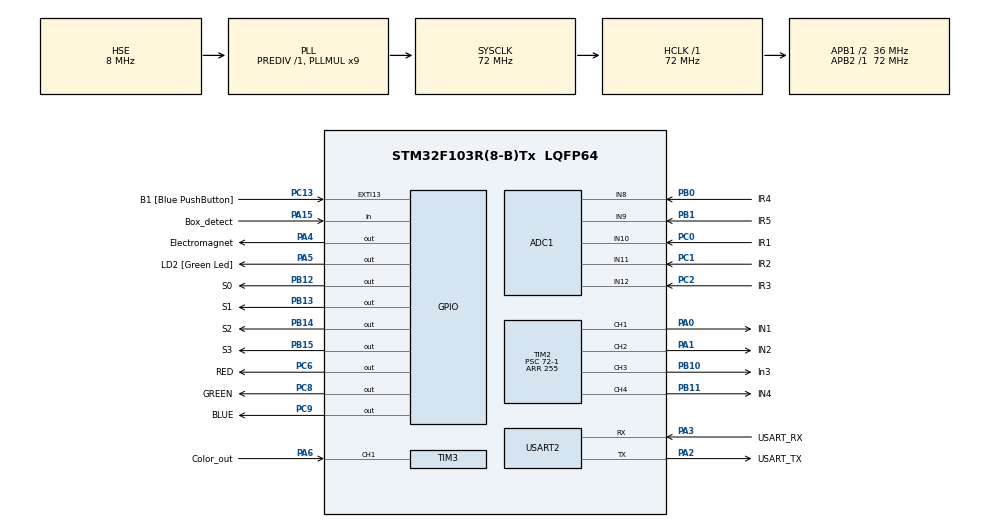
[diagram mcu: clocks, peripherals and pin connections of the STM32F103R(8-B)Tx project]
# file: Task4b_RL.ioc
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ADC1.Channel-0\#ChannelRegularConversion=ADC_CHANNEL_10
ADC1.Channel-1\#ChannelRegularConversion=ADC_CHANNEL_11
ADC1.Channel-2\#ChannelRegularConversion=ADC_CHANNEL_12
ADC1.Channel-3\#ChannelRegularConversion=ADC_CHANNEL_8
ADC1.Channel-4\#ChannelRegularConversion=ADC_CHANNEL_9
ADC1.ContinuousConvMode=ENABLE
ADC1.NbrOfConversion=5
ADC1.NbrOfConversionFlag=1
ADC1.Rank-0\#ChannelRegularConversion=1
ADC1.Rank-1\#ChannelRegularConversion=2
ADC1.Rank-2\#ChannelRegularConversion=3
ADC1.Rank-3\#ChannelRegularConversion=4
ADC1.Rank-4\#ChannelRegularConversion=5
ADC1.SamplingTime-0\#ChannelRegularConversion=ADC_SAMPLETIME_55CYCLES_5
ADC1.SamplingTime-1\#ChannelRegularConversion=ADC_SAMPLETIME_55CYCLES_5
ADC1.SamplingTime-2\#ChannelRegularConversion=ADC_SAMPLETIME_55CYCLES_5
ADC1.SamplingTime-3\#ChannelRegularConversion=ADC_SAMPLETIME_55CYCLES_5
ADC1.SamplingTime-4\#ChannelRegularConversion=ADC_SAMPLETIME_55CYCLES_5
ADC1.master=1
Dma.ADC1.0.Direction=DMA_PERIPH_TO_MEMORY
Dma.ADC1.0.Instance=DMA1_Channel1
Dma.ADC1.0.MemDataAlignment=DMA_MDATAALIGN_HALFWORD
Dma.ADC1.0.MemInc=DMA_MINC_ENABLE
Dma.ADC1.0.Mode=DMA_CIRCULAR
Dma.ADC1.0.PeriphDataAlignment=DMA_PDATAALIGN_HALFWORD
Dma.ADC1.0.PeriphInc=DMA_PINC_DISABLE
Dma.ADC1.0.Priority=DMA_PRIORITY_LOW
Dma.Request0=ADC1
Mcu.Family=STM32F1
Mcu.Name=STM32F103R(8-B)Tx
Mcu.Package=LQFP64
NVIC.ADC1_2_IRQn=true\:0\:0\:false\:false\:true\:true\:true\:true
NVIC.DMA1_Channel1_IRQn=true\:0\:0\:false\:false\:true\:false\:true\:true
NVIC.EXTI15_10_IRQn=true\:0\:0\:false\:false\:true\:true\:true\:true
NVIC.PriorityGroup=NVIC_PRIORITYGROUP_4
NVIC.TIM3_IRQn=true\:0\:0\:false\:false\:true\:true\:true\:true
PA0-WKUP.GPIO_Label=IN1
PA0-WKUP.Signal=S_TIM2_CH1_ETR
PA1.GPIO_Label=IN2
PA1.Signal=S_TIM2_CH2
PA13.GPIO_Label=TMS
PA13.Mode=Serial_Wire
PA13.Signal=SYS_JTMS-SWDIO
PA14.GPIO_Label=TCK
PA14.Mode=Serial_Wire
PA14.Signal=SYS_JTCK-SWCLK
PA15.GPIO_Label=Box_detect
PA15.Signal=GPIO_Input
PA2.GPIO_Label=USART_TX
PA2.GPIO_Mode=GPIO_MODE_AF_PP
PA2.GPIO_PuPd=GPIO_NOPULL
PA2.GPIO_Speed=GPIO_SPEED_FREQ_LOW
PA2.Mode=Asynchronous
PA2.Signal=USART2_TX
PA3.GPIO_Label=USART_RX
PA3.GPIO_Mode=GPIO_MODE_AF_PP
PA3.GPIO_PuPd=GPIO_NOPULL
PA3.GPIO_Speed=GPIO_SPEED_FREQ_LOW
PA3.Mode=Asynchronous
PA3.Signal=USART2_RX
PA4.GPIO_Label=Electromagnet
PA4.Signal=GPIO_Output
PA5.GPIO_Label=LD2 [Green Led]
PA5.GPIO_ModeDefaultOutputPP=GPIO_MODE_OUTPUT_PP
PA5.GPIO_PuPd=GPIO_NOPULL
PA5.GPIO_Speed=GPIO_SPEED_FREQ_LOW
PA5.Signal=GPIO_Output
PA6.GPIO_Label=Color_out
PA6.Signal=S_TIM3_CH1
PB0.GPIO_Label=IR4
PB0.Signal=ADCx_IN8
PB1.GPIO_Label=IR5
PB1.Signal=ADCx_IN9
PB10.GPIO_Label=In3
PB10.Signal=S_TIM2_CH3
PB11.GPIO_Label=IN4
PB11.Signal=S_TIM2_CH4
PB12.GPIO_Label=S0
PB12.Signal=GPIO_Output
PB13.GPIO_Label=S1
PB13.Signal=GPIO_Output
PB14.GPIO_Label=S2
PB14.Signal=GPIO_Output
PB15.GPIO_Label=S3
PB15.Signal=GPIO_Output
PB3.GPIO_Label=SWO
PB3.Signal=SYS_JTDO-TRACESWO
PC0.GPIO_Label=IR1
PC0.Signal=ADCx_IN10
PC1.GPIO_Label=IR2
PC1.Signal=ADCx_IN11
PC13-TAMPER-RTC.GPIO_Label=B1 [Blue PushButton]
PC13-TAMPER-RTC.GPIO_PuPd=GPIO_NOPULL
PC13-TAMPER-RTC.Signal=GPXTI13
PC14-OSC32_IN.Mode=LSE-External-Oscillator
PC14-OSC32_IN.Signal=RCC_OSC32_IN
PC15-OSC32_OUT.Mode=LSE-External-Oscillator
PC15-OSC32_OUT.Signal=RCC_OSC32_OUT
PC2.GPIO_Label=IR3
PC2.Signal=ADCx_IN12
PC6.GPIO_Label=RED
PC6.Signal=GPIO_Output
PC8.GPIO_Label=GREEN
PC8.Signal=GPIO_Output
PC9.GPIO_Label=BLUE
PC9.Signal=GPIO_Output
PD0-OSC_IN.Mode=HSE-External-Clock-Source
PD0-OSC_IN.Signal=RCC_OSC_IN
PD1-OSC_OUT.Mode=HSE-External-Clock-Source
PD1-OSC_OUT.Signal=RCC_OSC_OUT
ProjectManager.HeapSize=0x200
ProjectManager.StackSize=0x400
ProjectManager.TargetToolchain=STM32CubeIDE
RCC.ADCPresc=RCC_ADCPCLK2_DIV6
RCC.AHBFreq_Value=72000000
RCC.APB1CLKDivider=RCC_HCLK_DIV2
RCC.APB1Freq_Value=36000000
RCC.APB1TimFreq_Value=72000000
RCC.APB2Freq_Value=72000000
RCC.APB2TimFreq_Value=72000000
RCC.HCLKFreq_Value=72000000
RCC.PLLMUL=RCC_PLL_MUL9
RCC.PLLSourceVirtual=RCC_PLLSOURCE_HSE
RCC.RTCClockSelection=RCC_RTCCLKSOURCE_LSE
RCC.SYSCLKFreq_VALUE=72000000
RCC.SYSCLKSource=RCC_SYSCLKSOURCE_PLLCLK
RCC.USBFreq_Value=72000000
SH.ADCx_IN10.0=ADC1_IN10,IN10
SH.ADCx_IN11.0=ADC1_IN11,IN11
SH.ADCx_IN12.0=ADC1_IN12,IN12
SH.ADCx_IN8.0=ADC1_IN8,IN8
SH.ADCx_IN9.0=ADC1_IN9,IN9
SH.S_TIM2_CH1_ETR.0=TIM2_CH1,PWM Generation1 CH1
SH.S_TIM2_CH2.0=TIM2_CH2,PWM Generation2 CH2
SH.S_TIM2_CH3.0=TIM2_CH3,PWM Generation3 CH3
SH.S_TIM2_CH4.0=TIM2_CH4,PWM Generation4 CH4
SH.S_TIM3_CH1.0=TIM3_CH1,Input_Capture1_from_TI1
TIM2.Channel-PWM\ Generation1\ CH1=TIM_CHANNEL_1
TIM2.Channel-PWM\ Generation2\ CH2=TIM_CHANNEL_2
TIM2.Channel-PWM\ Generation3\ CH3=TIM_CHANNEL_3
TIM2.Channel-PWM\ Generation4\ CH4=TIM_CHANNEL_4
TIM2.Period=255
TIM2.Prescaler=72-1
TIM3.Channel-Input_Capture1_from_TI1=TIM_CHANNEL_1
USART2.VirtualMode=VM_ASYNC
board=NUCLEO-F103RB

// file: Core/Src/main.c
/* USER CODE BEGIN Header */
/**
  ******************************************************************************
  * @file           : main.c
  * @brief          : Main program body
  ******************************************************************************
  * @attention
  *
  * Copyright (c) 2025 STMicroelectronics.
  * All rights reserved.
  *
  * This software is licensed under terms that can be found in the LICENSE file
  * in the root directory of this software component.
  * If no LICENSE file comes with this software, it is provided AS-IS.
  *
  ******************************************************************************
  */
/* USER CODE END Header */
#include "main.h"
#include "q_table10.h"
#include <stdlib.h>
#include <math.h>

/* USER CODE BEGIN PTD */
typedef struct {
    int n_states;
    int n_actions;
    float lr;
    float gamma;
    float epsilon_start;
    float epsilon_min;
    float epsilon_decay;
    float epsilon;
    char* filename;
    float q_table[6][7];
    int action_list[7];
    float last_direction;
    int no_line_count;
    int stop_threshold;
    float prev_error;
    float smooth_error;
    float error_smoothing_alpha;
    float current_error;
    float error_sign;
    int prev_state;
} QLearningController;
/* USER CODE END PTD */

/* USER CODE BEGIN PD */
#define NUM_SENSORS         5
#define WHITE_THRESH        0.50f
#define FULL_WHITE_THRESH  0.85f
#define NO_LINE_SUM_THRESH  0.20f     // lowered → detect "no line" sooner
#define NO_LINE_MAX_THRESH  0.06f     // lowered → detect "no line" sooner
#define NO_LINE_TOLERANCE   60        // ~600 ms straight at 10 ms loop → good for zebra crossings
#define BASE_SPEED_SCALE    6.0f
/* USER CODE END PD */

ADC_HandleTypeDef hadc1;
DMA_HandleTypeDef hdma_adc1;

TIM_HandleTypeDef htim2;
TIM_HandleTypeDef htim3;

UART_HandleTypeDef huart2;

uint16_t adc_buf[NUM_SENSORS];

void SystemClock_Config(void);
static void MX_GPIO_Init(void);
static void MX_DMA_Init(void);
static void MX_USART2_UART_Init(void);
static void MX_ADC1_Init(void);
static void MX_TIM2_Init(void);
static void MX_TIM3_Init(void);

void init_QLearningController(QLearningController *self);
int Get_state(QLearningController *self, float values[NUM_SENSORS]);
int choose_action(QLearningController *self, int state);
void perform_action(int action, float *left_speed, float *right_speed);

int main(void)
{
  HAL_Init();
  SystemClock_Config();

  MX_GPIO_Init();
  MX_DMA_Init();
  MX_USART2_UART_Init();
  MX_ADC1_Init();
  MX_TIM2_Init();
  MX_TIM3_Init();

  QLearningController ql;
  init_QLearningController(&ql);

  HAL_TIM_PWM_Start(&htim2, TIM_CHANNEL_1);
  HAL_TIM_PWM_Start(&htim2, TIM_CHANNEL_2);
  HAL_TIM_PWM_Start(&htim2, TIM_CHANNEL_3);
  HAL_TIM_PWM_Start(&htim2, TIM_CHANNEL_4);

  HAL_ADC_Start_DMA(&hadc1, (uint32_t*)adc_buf, NUM_SENSORS);

  srand(HAL_GetTick());

  while (1)
  {
    float values[NUM_SENSORS];
    for(int i = 0; i < NUM_SENSORS; i++) {
        values[i] = (float)adc_buf[i] / 4095.0f;
    }

    // Stop condition: all sensors see full white (finish line)
    int all_white = 1;
    for (int i = 0; i < NUM_SENSORS; i++) {
        if (values[i] < FULL_WHITE_THRESH) {
            all_white = 0;
            break;
        }
    }
    if (all_white) {
        __HAL_TIM_SET_COMPARE(&htim2, TIM_CHANNEL_1, 0);
        __HAL_TIM_SET_COMPARE(&htim2, TIM_CHANNEL_2, 0);
        __HAL_TIM_SET_COMPARE(&htim2, TIM_CHANNEL_3, 0);
        __HAL_TIM_SET_COMPARE(&htim2, TIM_CHANNEL_4, 0);
        while (1) HAL_Delay(1000);
    }

    int state = Get_state(&ql, values);
    int action = choose_action(&ql, state);

    // Update last direction for recovery bias
    if (action == 1 || action == 3) ql.last_direction = -1.0f;
    else if (action == 2 || action == 4) ql.last_direction = 1.0f;

    float left_speed, right_speed;
    perform_action(action, &left_speed, &right_speed);

    int left_pwm  = (int)((fabsf(left_speed)  / BASE_SPEED_SCALE) * 255.0f);
    int right_pwm = (int)((fabsf(right_speed) / BASE_SPEED_SCALE) * 255.0f);

    // Clamp PWM values
    if (left_pwm  > 255) left_pwm  = 255;
    if (left_pwm  <   0) left_pwm  =   0;
    if (right_pwm > 255) right_pwm = 255;
    if (right_pwm <   0) right_pwm =   0;

    // Apply to motors (forward / backward)
    if (left_speed < 0) {
        __HAL_TIM_SET_COMPARE(&htim2, TIM_CHANNEL_1, 0);
        __HAL_TIM_SET_COMPARE(&htim2, TIM_CHANNEL_2, left_pwm);
    } else {
        __HAL_TIM_SET_COMPARE(&htim2, TIM_CHANNEL_1, left_pwm);
        __HAL_TIM_SET_COMPARE(&htim2, TIM_CHANNEL_2, 0);
    }

    if (right_speed < 0) {
        __HAL_TIM_SET_COMPARE(&htim2, TIM_CHANNEL_3, 0);
        __HAL_TIM_SET_COMPARE(&htim2, TIM_CHANNEL_4, right_pwm);
    } else {
        __HAL_TIM_SET_COMPARE(&htim2, TIM_CHANNEL_3, right_pwm);
        __HAL_TIM_SET_COMPARE(&htim2, TIM_CHANNEL_4, 0);
    }

    HAL_Delay(10);

    ql.prev_state = state;
  }
}

/* ─────────────────────────────────────────────────────────────────────────── */
/*   Peripheral initialization functions                                      */
/* ─────────────────────────────────────────────────────────────────────────── */

void SystemClock_Config(void)
{
  RCC_OscInitTypeDef RCC_OscInitStruct = {0};
  RCC_ClkInitTypeDef RCC_ClkInitStruct = {0};
  RCC_PeriphCLKInitTypeDef PeriphClkInit = {0};

  RCC_OscInitStruct.OscillatorType = RCC_OSCILLATORTYPE_HSE;
  RCC_OscInitStruct.HSEState = RCC_HSE_BYPASS;
  RCC_OscInitStruct.HSEPredivValue = RCC_HSE_PREDIV_DIV1;
  RCC_OscInitStruct.HSIState = RCC_HSI_ON;
  RCC_OscInitStruct.PLL.PLLState = RCC_PLL_ON;
  RCC_OscInitStruct.PLL.PLLSource = RCC_PLLSOURCE_HSE;
  RCC_OscInitStruct.PLL.PLLMUL = RCC_PLL_MUL9;
  if (HAL_RCC_OscConfig(&RCC_OscInitStruct) != HAL_OK) Error_Handler();

  RCC_ClkInitStruct.ClockType = RCC_CLOCKTYPE_HCLK|RCC_CLOCKTYPE_SYSCLK
                              |RCC_CLOCKTYPE_PCLK1|RCC_CLOCKTYPE_PCLK2;
  RCC_ClkInitStruct.SYSCLKSource = RCC_SYSCLKSOURCE_PLLCLK;
  RCC_ClkInitStruct.AHBCLKDivider = RCC_SYSCLK_DIV1;
  RCC_ClkInitStruct.APB1CLKDivider = RCC_HCLK_DIV2;
  RCC_ClkInitStruct.APB2CLKDivider = RCC_HCLK_DIV1;

  if (HAL_RCC_ClockConfig(&RCC_ClkInitStruct, FLASH_LATENCY_2) != HAL_OK) Error_Handler();

  PeriphClkInit.PeriphClockSelection = RCC_PERIPHCLK_ADC;
  PeriphClkInit.AdcClockSelection = RCC_ADCPCLK2_DIV6;
  if (HAL_RCCEx_PeriphCLKConfig(&PeriphClkInit) != HAL_OK) Error_Handler();
}

static void MX_GPIO_Init(void)
{
  GPIO_InitTypeDef GPIO_InitStruct = {0};

  __HAL_RCC_GPIOC_CLK_ENABLE();
  __HAL_RCC_GPIOD_CLK_ENABLE();
  __HAL_RCC_GPIOA_CLK_ENABLE();
  __HAL_RCC_GPIOB_CLK_ENABLE();

  HAL_GPIO_WritePin(GPIOA, Electromagnet_Pin|LD2_Pin, GPIO_PIN_RESET);
  HAL_GPIO_WritePin(GPIOB, S0_Pin|S1_Pin|S2_Pin|S3_Pin, GPIO_PIN_RESET);
  HAL_GPIO_WritePin(GPIOC, RED_Pin|GREEN_Pin|BLUE_Pin, GPIO_PIN_RESET);

  GPIO_InitStruct.Pin = B1_Pin;
  GPIO_InitStruct.Mode = GPIO_MODE_IT_RISING;
  GPIO_InitStruct.Pull = GPIO_NOPULL;
  HAL_GPIO_Init(B1_GPIO_Port, &GPIO_InitStruct);

  GPIO_InitStruct.Pin = Electromagnet_Pin|LD2_Pin;
  GPIO_InitStruct.Mode = GPIO_MODE_OUTPUT_PP;
  GPIO_InitStruct.Pull = GPIO_NOPULL;
  GPIO_InitStruct.Speed = GPIO_SPEED_FREQ_LOW;
  HAL_GPIO_Init(GPIOA, &GPIO_InitStruct);

  GPIO_InitStruct.Pin = S0_Pin|S1_Pin|S2_Pin|S3_Pin;
  GPIO_InitStruct.Mode = GPIO_MODE_OUTPUT_PP;
  GPIO_InitStruct.Pull = GPIO_NOPULL;
  GPIO_InitStruct.Speed = GPIO_SPEED_FREQ_LOW;
  HAL_GPIO_Init(GPIOB, &GPIO_InitStruct);

  GPIO_InitStruct.Pin = RED_Pin|GREEN_Pin|BLUE_Pin;
  GPIO_InitStruct.Mode = GPIO_MODE_OUTPUT_PP;
  GPIO_InitStruct.Pull = GPIO_NOPULL;
  GPIO_InitStruct.Speed = GPIO_SPEED_FREQ_LOW;
  HAL_GPIO_Init(GPIOC, &GPIO_InitStruct);

  GPIO_InitStruct.Pin = Box_detect_Pin;
  GPIO_InitStruct.Mode = GPIO_MODE_INPUT;
  GPIO_InitStruct.Pull = GPIO_NOPULL;
  HAL_GPIO_Init(Box_detect_GPIO_Port, &GPIO_InitStruct);

  HAL_NVIC_SetPriority(EXTI15_10_IRQn, 0, 0);
  HAL_NVIC_EnableIRQ(EXTI15_10_IRQn);
}

static void MX_DMA_Init(void)
{
  __HAL_RCC_DMA1_CLK_ENABLE();
  HAL_NVIC_SetPriority(DMA1_Channel1_IRQn, 0, 0);
  HAL_NVIC_EnableIRQ(DMA1_Channel1_IRQn);
}

static void MX_USART2_UART_Init(void)
{
  huart2.Instance = USART2;
  huart2.Init.BaudRate = 115200;
  huart2.Init.WordLength = UART_WORDLENGTH_8B;
  huart2.Init.StopBits = UART_STOPBITS_1;
  huart2.Init.Parity = UART_PARITY_NONE;
  huart2.Init.Mode = UART_MODE_TX_RX;
  huart2.Init.HwFlowCtl = UART_HWCONTROL_NONE;
  huart2.Init.OverSampling = UART_OVERSAMPLING_16;
  if (HAL_UART_Init(&huart2) != HAL_OK) Error_Handler();
}

static void MX_ADC1_Init(void)
{
  ADC_ChannelConfTypeDef sConfig = {0};

  hadc1.Instance = ADC1;
  hadc1.Init.ScanConvMode = ADC_SCAN_ENABLE;
  hadc1.Init.ContinuousConvMode = ENABLE;
  hadc1.Init.DiscontinuousConvMode = DISABLE;
  hadc1.Init.ExternalTrigConv = ADC_SOFTWARE_START;
  hadc1.Init.DataAlign = ADC_DATAALIGN_RIGHT;
  hadc1.Init.NbrOfConversion = 5;
  if (HAL_ADC_Init(&hadc1) != HAL_OK) Error_Handler();

  sConfig.SamplingTime = ADC_SAMPLETIME_55CYCLES_5;

  sConfig.Channel = ADC_CHANNEL_10; sConfig.Rank = ADC_REGULAR_RANK_1;
  if (HAL_ADC_ConfigChannel(&hadc1, &sConfig) != HAL_OK) Error_Handler();

  sConfig.Channel = ADC_CHANNEL_11; sConfig.Rank = ADC_REGULAR_RANK_2;
  if (HAL_ADC_ConfigChannel(&hadc1, &sConfig) != HAL_OK) Error_Handler();

  sConfig.Channel = ADC_CHANNEL_12; sConfig.Rank = ADC_REGULAR_RANK_3;
  if (HAL_ADC_ConfigChannel(&hadc1, &sConfig) != HAL_OK) Error_Handler();

  sConfig.Channel = ADC_CHANNEL_8;  sConfig.Rank = ADC_REGULAR_RANK_4;
  if (HAL_ADC_ConfigChannel(&hadc1, &sConfig) != HAL_OK) Error_Handler();

  sConfig.Channel = ADC_CHANNEL_9;  sConfig.Rank = ADC_REGULAR_RANK_5;
  if (HAL_ADC_ConfigChannel(&hadc1, &sConfig) != HAL_OK) Error_Handler();
}

static void MX_TIM2_Init(void)
{
  TIM_MasterConfigTypeDef sMasterConfig = {0};
  TIM_OC_InitTypeDef sConfigOC = {0};

  htim2.Instance = TIM2;
  htim2.Init.Prescaler = 72-1;
  htim2.Init.CounterMode = TIM_COUNTERMODE_UP;
  htim2.Init.Period = 255;
  htim2.Init.ClockDivision = TIM_CLOCKDIVISION_DIV1;
  htim2.Init.AutoReloadPreload = TIM_AUTORELOAD_PRELOAD_DISABLE;
  if (HAL_TIM_PWM_Init(&htim2) != HAL_OK) Error_Handler();

  sMasterConfig.MasterOutputTrigger = TIM_TRGO_RESET;
  sMasterConfig.MasterSlaveMode = TIM_MASTERSLAVEMODE_DISABLE;
  if (HAL_TIMEx_MasterConfigSynchronization(&htim2, &sMasterConfig) != HAL_OK) Error_Handler();

  sConfigOC.OCMode = TIM_OCMODE_PWM1;
  sConfigOC.Pulse = 0;
  sConfigOC.OCPolarity = TIM_OCPOLARITY_HIGH;
  sConfigOC.OCFastMode = TIM_OCFAST_DISABLE;

  if (HAL_TIM_PWM_ConfigChannel(&htim2, &sConfigOC, TIM_CHANNEL_1) != HAL_OK) Error_Handler();
  if (HAL_TIM_PWM_ConfigChannel(&htim2, &sConfigOC, TIM_CHANNEL_2) != HAL_OK) Error_Handler();
  if (HAL_TIM_PWM_ConfigChannel(&htim2, &sConfigOC, TIM_CHANNEL_3) != HAL_OK) Error_Handler();
  if (HAL_TIM_PWM_ConfigChannel(&htim2, &sConfigOC, TIM_CHANNEL_4) != HAL_OK) Error_Handler();

  HAL_TIM_MspPostInit(&htim2);
}

static void MX_TIM3_Init(void)
{
  TIM_MasterConfigTypeDef sMasterConfig = {0};
  TIM_IC_InitTypeDef sConfigIC = {0};

  htim3.Instance = TIM3;
  htim3.Init.Prescaler = 0;
  htim3.Init.CounterMode = TIM_COUNTERMODE_UP;
  htim3.Init.Period = 65535;
  htim3.Init.ClockDivision = TIM_CLOCKDIVISION_DIV1;
  htim3.Init.AutoReloadPreload = TIM_AUTORELOAD_PRELOAD_DISABLE;
  if (HAL_TIM_IC_Init(&htim3) != HAL_OK) Error_Handler();

  sMasterConfig.MasterOutputTrigger = TIM_TRGO_RESET;
  sMasterConfig.MasterSlaveMode = TIM_MASTERSLAVEMODE_DISABLE;
  if (HAL_TIMEx_MasterConfigSynchronization(&htim3, &sMasterConfig) != HAL_OK) Error_Handler();

  sConfigIC.ICPolarity = TIM_INPUTCHANNELPOLARITY_RISING;
  sConfigIC.ICSelection = TIM_ICSELECTION_DIRECTTI;
  sConfigIC.ICPrescaler = TIM_ICPSC_DIV1;
  sConfigIC.ICFilter = 0;
  if (HAL_TIM_IC_ConfigChannel(&htim3, &sConfigIC, TIM_CHANNEL_1) != HAL_OK) Error_Handler();
}

/* USER CODE BEGIN 4 */
void init_QLearningController(QLearningController *self) {
    self->n_states = 6;
    self->n_actions = 7;
    self->lr = 0.2f;
    self->gamma = 0.95f;
    self->epsilon_start = 0.5f;
    self->epsilon_min = 0.01f;
    self->epsilon_decay = 0.995f;
    self->epsilon = self->epsilon_start;
    self->filename = "q_table.pkl";

    for (int s = 0; s < 6; s++)
        for (int a = 0; a < 7; a++)
            self->q_table[s][a] = q_table[s][a];

    for (int i = 0; i < 7; i++)
        self->action_list[i] = i;

    self->last_direction = 1.0f;
    self->no_line_count = 0;
    self->stop_threshold = NO_LINE_TOLERANCE;
    self->prev_error = 0.0f;
    self->smooth_error = 0.0f;
    self->error_smoothing_alpha = 0.7f;
    self->prev_state = 2;
}

int Get_state(QLearningController *self, float values[NUM_SENSORS]) {
    float raw_sum = 0.0f, max_val = 0.0f;
    for (int i = 0; i < NUM_SENSORS; i++) {
        raw_sum += values[i];
        if (values[i] > max_val) max_val = values[i];
    }

    if (raw_sum < NO_LINE_SUM_THRESH || max_val < NO_LINE_MAX_THRESH) {
        self->current_error = 2.0f;
        self->no_line_count++;
        self->smooth_error = self->error_smoothing_alpha * self->smooth_error +
                             (1.0f - self->error_smoothing_alpha) * 2.0f;
        return 5;
    } else {
        self->no_line_count = 0;
    }

    float weighted_sum = 0.0f;
    for (int i = 0; i < NUM_SENSORS; i++)
        weighted_sum += (float)i * values[i];

    float position = (raw_sum > 0.0f) ? (weighted_sum / raw_sum) : 2.0f;
    position += 0.1f;  // small left bias to counter drift

    float center = 2.0f;
    float error = center - position;
    self->current_error = fabsf(error);
    self->error_sign = (error > 0) ? 1.0f : (error < 0 ? -1.0f : 0.0f);

    self->smooth_error = self->error_smoothing_alpha * self->smooth_error +
                         (1.0f - self->error_smoothing_alpha) * self->current_error;

    float abs_error = fabsf(error);
    if (abs_error > 0.2f) return (error > 0) ? 4 : 0;
    if (abs_error > 0.03f) return (error > 0) ? 3 : 1;
    return 2;
}

int choose_action(QLearningController *self, int state) {
    self->epsilon *= self->epsilon_decay;
    self->epsilon = fmaxf(self->epsilon, self->epsilon_min);

    // Immediate hard corrections when far off
    if (state == 0) return 4;
    if (state == 4) return 3;
    if (state == 1) return 2;
    if (state == 3) return 1;

    // ───────────────────────────── Dotted / Zebra line handling ─────────────────────────────
    if (state == 5) {
        if (self->no_line_count < NO_LINE_TOLERANCE) {
            return 0;                       // always straight during short gaps
        } else {
            // Long gap → very strong straight preference
            int rnd = rand() % 100;
            if (rnd < 94) {                 // 94% straight
                return 0;
            } else if (rnd < 97) {          // 3% gentle correction in last direction
                return (self->last_direction > 0.0f) ? 2 : 1;
            } else {                        // 3% gentle correction opposite direction
                return (self->last_direction > 0.0f) ? 1 : 2;
            }
        }
    }

    // Normal epsilon-greedy when line is visible
    if ((float)rand() / RAND_MAX < self->epsilon) {
        return rand() % self->n_actions;
    }

    // Greedy from Q-table
    float max_q = self->q_table[state][0];
    int best = 0;
    for (int a = 1; a < self->n_actions; a++) {
        if (self->q_table[state][a] > max_q) {
            max_q = self->q_table[state][a];
            best = a;
        }
    }
    return best;
}

void perform_action(int action, float *left_speed, float *right_speed) {
    float base    = 2.2f;      // lower base speed → more time to detect next stripe
    float mild    = 2.2f;
    float hard    = 3.4f;      // reduced hard turn → less overshoot

    switch (action) {
        case 0:  *left_speed = base;          *right_speed = base;         break;
        case 1:  *left_speed = base - mild;   *right_speed = base + mild;  break;
        case 2:  *left_speed = base + mild;   *right_speed = base - mild;  break;
        case 3:  *left_speed = base - hard;   *right_speed = base + hard;  break;
        case 4:  *left_speed = base + hard;   *right_speed = base - hard;  break;
        case 5:  *left_speed = 0.0f;          *right_speed = 0.0f;         break;
        case 6:  *left_speed = base * 1.15f;  *right_speed = base * 1.15f; break;
        default: *left_speed = 0.0f;          *right_speed = 0.0f;         break;
    }
}
/* USER CODE END 4 */

void Error_Handler(void)
{
  __disable_irq();
  while (1) {}
}
